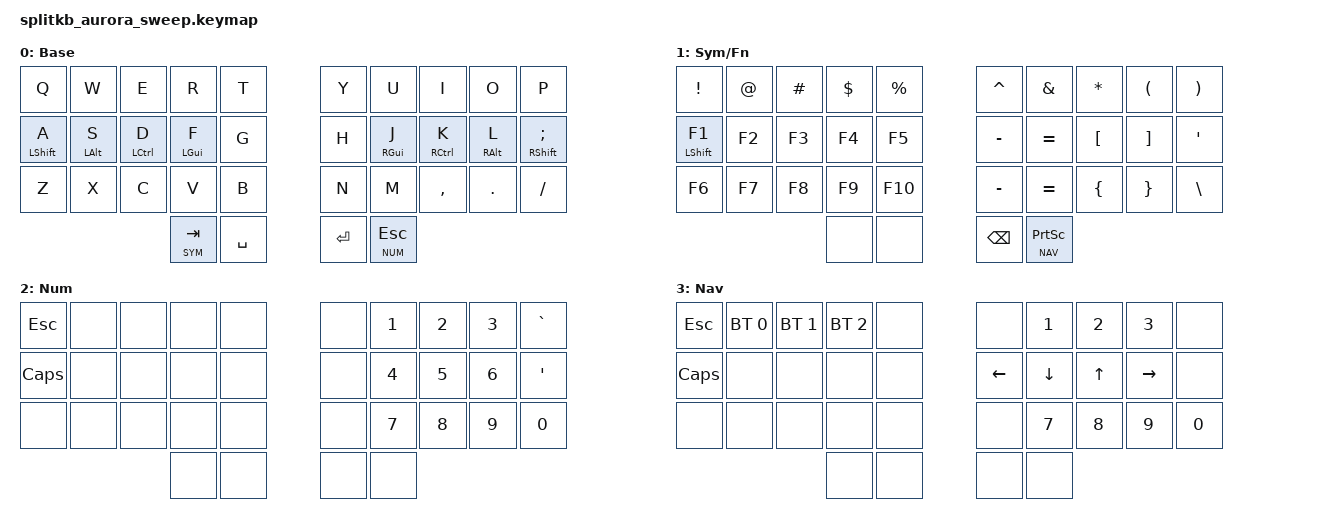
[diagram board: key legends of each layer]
/*
 * Copyright (c) 2022 The ZMK Contributors
 *
 * SPDX-License-Identifier: MIT
 */

#include <behaviors.dtsi>
#include <dt-bindings/zmk/keys.h>
#include <dt-bindings/zmk/bt.h>

#define BASE 0
#define SYM  1
#define NUM  2
#define NAV  3

/* QMK: TAPPING_TERM 140 + PERMISSIVE_HOLD.
 * ZMK's "balanced" flavor is the equivalent of permissive hold.
 * QUICK_TAP_TERM 0 == quick-tap disabled, which is already ZMK's default.
 * Overriding &mt / &lt applies to every home-row mod and layer-tap below.
 */
&mt {
    flavor = "balanced";
    tapping-term-ms = <200>;
    require-prior-idle-ms = <110>;  // optional: reduces home-row misfires
};

&lt {
    flavor = "balanced";
    tapping-term-ms = <140>;
};

/ {
    keymap {
        compatible = "zmk,keymap";

        base_layer {
            display-name = "Base";
            bindings = <
&kp Q         &kp W        &kp E         &kp R        &kp T      &kp Y      &kp U         &kp I         &kp O        &kp P
&mt LSHIFT A  &mt LALT S   &mt LCTRL D   &mt LGUI F   &kp G      &kp H      &mt RGUI J    &mt RCTRL K   &mt RALT L   &mt RSHIFT SEMI
&kp Z         &kp X        &kp C         &kp V        &kp B      &kp N      &kp M         &kp COMMA     &kp DOT      &kp FSLH
                                &lt SYM TAB   &kp SPACE                       &kp RET   &lt NUM ESC
            >;
        };

        sym_layer {
            display-name = "Sym/Fn";
            bindings = <
&kp EXCL         &kp AT     &kp HASH   &kp DLLR   &kp PRCNT    &kp CARET   &kp AMPS    &kp STAR   &kp LPAR   &kp RPAR
&mt LSHIFT F1    &kp F2     &kp F3     &kp F4     &kp F5       &kp MINUS   &kp EQUAL   &kp LBKT   &kp RBKT   &kp SQT
&kp F6           &kp F7     &kp F8     &kp F9     &kp F10      &kp MINUS   &kp EQUAL   &kp LBRC   &kp RBRC   &kp BSLH
                                  &none   &none                          &kp BSPC   &lt NAV PSCRN
            >;
        };

        num_layer {
            display-name = "Num";
            bindings = <
&kp ESC   &none   &none   &none   &none     &none   &kp N1   &kp N2   &kp N3   &kp GRAVE
&kp CAPS     &none   &none   &none   &none     &none   &kp N4   &kp N5   &kp N6   &kp SQT
&none     &none   &none   &none   &none     &none   &kp N7   &kp N8   &kp N9   &kp N0
                          &none   &none                 &none   &none
            >;
        };

        nav_layer {
            display-name = "Nav";
            bindings = <
&kp ESC    &bt BT_SEL 0   &bt BT_SEL 1   &bt BT_SEL 2   &none    &none      &kp N1     &kp N2   &kp N3      &none
&kp CAPS   &none   &none   &none   &none     &kp LEFT   &kp DOWN   &kp UP   &kp RIGHT   &none
&none      &none   &none   &none   &none     &none      &kp N7     &kp N8   &kp N9      &kp N0
                           &none   &none                 &none   &none
            >;
        };
    };
};
